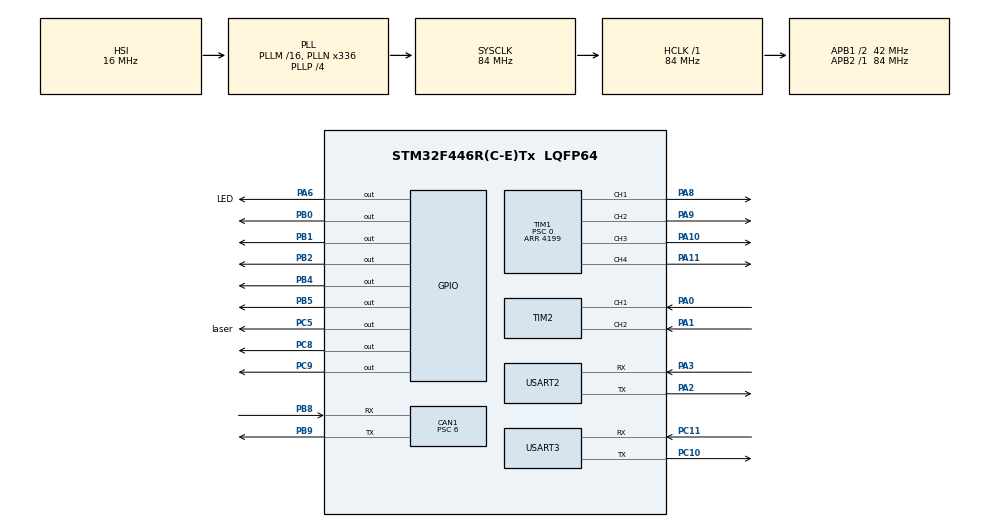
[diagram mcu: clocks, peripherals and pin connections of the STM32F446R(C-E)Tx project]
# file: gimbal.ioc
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CAN1.BS1=CAN_BS1_11TQ
CAN1.BS2=CAN_BS2_2TQ
CAN1.CalculateBaudRate=500000
CAN1.CalculateTimeBit=2000
CAN1.CalculateTimeQuantum=142.85714285714286
CAN1.Prescaler=6
FREERTOS.Tasks01=GimbalTASK,2,512,StartGimbalTask,Default,NULL,Dynamic,NULL,NULL;MonitorTask,3,512,StartMonitorTask,Default,NULL,Dynamic,NULL,NULL;ActionTask,0,256,StartActionTask,Default,NULL,Dynamic,NULL,NULL
Mcu.Family=STM32F4
Mcu.Name=STM32F446R(C-E)Tx
Mcu.Package=LQFP64
NVIC.CAN1_RX0_IRQn=true\:5\:0\:false\:false\:true\:true\:true\:true\:true
NVIC.PriorityGroup=NVIC_PRIORITYGROUP_4
NVIC.TIM1_UP_TIM10_IRQn=true\:5\:0\:false\:false\:true\:true\:true\:true\:true
PA0-WKUP.Signal=S_TIM2_CH1_ETR
PA1.Signal=S_TIM2_CH2
PA10.Signal=S_TIM1_CH3
PA11.Signal=S_TIM1_CH4
PA13.Mode=Serial_Wire
PA13.Signal=SYS_JTMS-SWDIO
PA14.Mode=Serial_Wire
PA14.Signal=SYS_JTCK-SWCLK
PA2.Mode=Asynchronous
PA2.Signal=USART2_TX
PA3.Mode=Asynchronous
PA3.Signal=USART2_RX
PA6.GPIO_Label=LED
PA6.Signal=GPIO_Output
PA8.Signal=S_TIM1_CH1
PA9.Signal=S_TIM1_CH2
PB0.Signal=GPIO_Output
PB1.Signal=GPIO_Output
PB2.Signal=GPIO_Output
PB4.Signal=GPIO_Output
PB5.Signal=GPIO_Output
PB8.Mode=CAN_Activate
PB8.Signal=CAN1_RX
PB9.Mode=CAN_Activate
PB9.Signal=CAN1_TX
PC10.Mode=Asynchronous
PC10.Signal=USART3_TX
PC11.Mode=Asynchronous
PC11.Signal=USART3_RX
PC14-OSC32_IN.Mode=LSE-External-Oscillator
PC14-OSC32_IN.Signal=RCC_OSC32_IN
PC15-OSC32_OUT.Mode=LSE-External-Oscillator
PC15-OSC32_OUT.Signal=RCC_OSC32_OUT
PC5.GPIO_Label=laser
PC5.Signal=GPIO_Output
PC8.Signal=GPIO_Output
PC9.Signal=GPIO_Output
PH0-OSC_IN.Mode=HSE-External-Oscillator
PH0-OSC_IN.Signal=RCC_OSC_IN
PH1-OSC_OUT.Mode=HSE-External-Oscillator
PH1-OSC_OUT.Signal=RCC_OSC_OUT
ProjectManager.HeapSize=0x200
ProjectManager.StackSize=0x400
ProjectManager.TargetToolchain=STM32CubeIDE
RCC.AHBFreq_Value=84000000
RCC.APB1CLKDivider=RCC_HCLK_DIV2
RCC.APB1Freq_Value=42000000
RCC.APB1TimFreq_Value=84000000
RCC.APB2Freq_Value=84000000
RCC.APB2TimFreq_Value=84000000
RCC.CortexFreq_Value=84000000
RCC.HCLKFreq_Value=84000000
RCC.PLLN=336
RCC.PLLP=RCC_PLLP_DIV4
RCC.SYSCLKFreq_VALUE=84000000
RCC.SYSCLKSource=RCC_SYSCLKSOURCE_PLLCLK
RCC.USBFreq_Value=168000000
RCC.VCOOutputFreq_Value=336000000
SH.S_TIM1_CH1.0=TIM1_CH1,PWM Generation1 CH1
SH.S_TIM1_CH2.0=TIM1_CH2,PWM Generation2 CH2
SH.S_TIM1_CH3.0=TIM1_CH3,PWM Generation3 CH3
SH.S_TIM1_CH4.0=TIM1_CH4,PWM Generation4 CH4
SH.S_TIM2_CH1_ETR.0=TIM2_CH1,Input_Capture1_from_TI1
SH.S_TIM2_CH2.0=TIM2_CH2,Input_Capture2_from_TI2
TIM1.Channel-PWM\ Generation1\ CH1=TIM_CHANNEL_1
TIM1.Channel-PWM\ Generation2\ CH2=TIM_CHANNEL_2
TIM1.Channel-PWM\ Generation3\ CH3=TIM_CHANNEL_3
TIM1.Channel-PWM\ Generation4\ CH4=TIM_CHANNEL_4
TIM1.Period=4199
TIM1.Prescaler=0
TIM2.Channel-Input_Capture1_from_TI1=TIM_CHANNEL_1
TIM2.Channel-Input_Capture2_from_TI2=TIM_CHANNEL_2
USART2.VirtualMode=VM_ASYNC
USART3.VirtualMode=VM_ASYNC
VP_FREERTOS_VS_CMSIS_V1.Mode=CMSIS_V1
VP_TIM1_VS_ClockSourceINT.Mode=Internal
board=custom

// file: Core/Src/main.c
/* USER CODE BEGIN Header */
/**
  ******************************************************************************
  * @file           : main.c
  * @brief          : Main program body
  ******************************************************************************
  * @attention
  *
  * Copyright (c) 2025 STMicroelectronics.
  * All rights reserved.
  *
  * This software is licensed under terms that can be found in the LICENSE file
  * in the root directory of this software component.
  * If no LICENSE file comes with this software, it is provided AS-IS.
  *
  ******************************************************************************
  */
/* USER CODE END Header */
#include "main.h"
#include "cmsis_os.h"
#include "can.h"
#include "tim.h"
#include "usart.h"
#include "gpio.h"

/* USER CODE BEGIN PV */
volatile int16_t    g_target_x = 0;
volatile int16_t    g_target_y = 0;
volatile uint8_t    g_control_mode = 0;
volatile uint8_t    g_laser_cmd = 0;
volatile uint8_t    last_gate_cmd = 0;
volatile uint8_t dronemode =0;

/* 시스템 상태 감시용 변수 */
volatile uint32_t   g_last_heartbeat_rx_tick = 0;
volatile uint32_t   g_last_rx_tick = 0;
volatile uint32_t   g_last_laser_tick = 0;
volatile uint32_t   g_last_target_tick = 0;
volatile int16_t g_manual_up =0 ;
volatile int16_t g_manual_down = 0;
volatile int16_t g_manual_left = 0;
volatile int16_t g_manual_right = 0;

/* 주행 명령 원본 데이터 */
volatile uint8_t    g_drive_cmd[5] = {0, };

/* CAN 관련 통신 변수 */
CAN_RxHeaderTypeDef canRxHeader;
CAN_TxHeaderTypeDef canTxHeader;
uint32_t            TxMailBox;
uint8_t             can1Rx0Data[8];
uint8_t             can1Tx0Data[8];
/* USER CODE END PV */

void SystemClock_Config(void);
void MX_FREERTOS_Init(void);

int main(void)
{

  /* MCU Configuration--------------------------------------------------------*/

  /* Reset of all peripherals, Initializes the Flash interface and the Systick. */
  HAL_Init();

  /* Configure the system clock */
  SystemClock_Config();

  /* Initialize all configured peripherals */
  MX_GPIO_Init();
  MX_USART2_UART_Init();
  MX_CAN1_Init();
  MX_TIM1_Init();
  MX_TIM2_Init();
  MX_USART3_UART_Init();
  /* USER CODE BEGIN 2 */
  MX_CAN1_Filter_Config();
  /* USER CODE END 2 */

  /* Call init function for freertos objects (in cmsis_os2.c) */
  MX_FREERTOS_Init();

  /* Start scheduler */
  osKernelStart();

  /* We should never get here as control is now taken by the scheduler */

  /* Infinite loop */
  while (1)
  {

  }
}

void SystemClock_Config(void)
{
  RCC_OscInitTypeDef RCC_OscInitStruct = {0};
  RCC_ClkInitTypeDef RCC_ClkInitStruct = {0};

  /** Configure the main internal regulator output voltage
  */
  __HAL_RCC_PWR_CLK_ENABLE();
  __HAL_PWR_VOLTAGESCALING_CONFIG(PWR_REGULATOR_VOLTAGE_SCALE3);

  /** Initializes the RCC Oscillators according to the specified parameters
  * in the RCC_OscInitTypeDef structure.
  */
  RCC_OscInitStruct.OscillatorType = RCC_OSCILLATORTYPE_HSI;
  RCC_OscInitStruct.HSIState = RCC_HSI_ON;
  RCC_OscInitStruct.HSICalibrationValue = RCC_HSICALIBRATION_DEFAULT;
  RCC_OscInitStruct.PLL.PLLState = RCC_PLL_ON;
  RCC_OscInitStruct.PLL.PLLSource = RCC_PLLSOURCE_HSI;
  RCC_OscInitStruct.PLL.PLLM = 16;
  RCC_OscInitStruct.PLL.PLLN = 336;
  RCC_OscInitStruct.PLL.PLLP = RCC_PLLP_DIV4;
  RCC_OscInitStruct.PLL.PLLQ = 2;
  RCC_OscInitStruct.PLL.PLLR = 2;
  if (HAL_RCC_OscConfig(&RCC_OscInitStruct) != HAL_OK)
  {
    Error_Handler();
  }

  /** Initializes the CPU, AHB and APB buses clocks
  */
  RCC_ClkInitStruct.ClockType = RCC_CLOCKTYPE_HCLK|RCC_CLOCKTYPE_SYSCLK
                              |RCC_CLOCKTYPE_PCLK1|RCC_CLOCKTYPE_PCLK2;
  RCC_ClkInitStruct.SYSCLKSource = RCC_SYSCLKSOURCE_PLLCLK;
  RCC_ClkInitStruct.AHBCLKDivider = RCC_SYSCLK_DIV1;
  RCC_ClkInitStruct.APB1CLKDivider = RCC_HCLK_DIV2;
  RCC_ClkInitStruct.APB2CLKDivider = RCC_HCLK_DIV1;

  if (HAL_RCC_ClockConfig(&RCC_ClkInitStruct, FLASH_LATENCY_2) != HAL_OK)
  {
    Error_Handler();
  }
}

void Error_Handler(void)
{
  __disable_irq();
  while (1)
  {
  }
}

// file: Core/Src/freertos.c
/* USER CODE BEGIN Header */
/**
 ******************************************************************************
 * File Name          : freertos.c
 * Description        : Code for freertos applications
 ******************************************************************************
 */
/* USER CODE END Header */

#include "FreeRTOS.h"
#include "task.h"
#include "main.h"
#include "cmsis_os.h"

/* USER CODE BEGIN Includes */
#include <stdio.h>
#include <string.h>
#include <stdlib.h>
/* USER CODE END Includes */

/* USER CODE BEGIN PD */
extern void CAN_CheckAndRecover(void);
extern void CAN1_Send_Gimbal_Heartbeat(uint8_t status);
extern void MX_CAN1_Filter_Config(void);
extern void Driving_Stop(void);
extern void Driving_Init(void);
extern void Driving_SetSpeed(uint8_t ls, uint8_t rs, uint8_t ld, uint8_t rd);
extern void CAN_GetDriveCommand(uint8_t *ls, uint8_t *rs, uint8_t *ld, uint8_t *rd, uint8_t *brk);
/* USER CODE END PD */

/* USER CODE BEGIN Variables */
extern UART_HandleTypeDef huart2;
extern UART_HandleTypeDef huart3;

extern volatile int16_t    g_target_x;
extern volatile int16_t    g_target_y;
extern volatile uint8_t    g_control_mode;
extern volatile uint8_t    g_laser_cmd;
extern volatile uint8_t    dronemode;

extern volatile uint32_t   g_last_rx_tick;
extern volatile uint32_t   g_last_target_tick;
extern volatile uint32_t   g_last_laser_tick;

extern volatile int16_t    g_manual_up;
extern volatile int16_t    g_manual_down;
extern volatile int16_t    g_manual_left;
extern volatile int16_t    g_manual_right;

osThreadId GimbalTASKHandle;
osThreadId MonitorTaskHandle;
osThreadId ActionTaskHandle;
/* USER CODE END Variables */
osThreadId GimbalTASKHandle;
osThreadId MonitorTaskHandle;
osThreadId ActionTaskHandle;

/* USER CODE BEGIN FunctionPrototypes */
uint16_t Calculate_Mavlink_CRC(uint8_t *data, uint16_t len);
uint16_t crc_accumulate(uint8_t b, uint16_t crc);
/* USER CODE END FunctionPrototypes */

void StartGimbalTask(void const * argument);
void StartMonitorTask(void const * argument);
void StartActionTask(void const * argument);

void MX_FREERTOS_Init(void); /* (MISRA C 2004 rule 8.1) */

/* GetIdleTaskMemory prototype (linked to static allocation support) */
void vApplicationGetIdleTaskMemory( StaticTask_t **ppxIdleTaskTCBBuffer, StackType_t **ppxIdleTaskStackBuffer, uint32_t *pulIdleTaskStackSize );

/* USER CODE BEGIN GET_IDLE_TASK_MEMORY */
static StaticTask_t xIdleTaskTCBBuffer;
static StackType_t xIdleStack[configMINIMAL_STACK_SIZE];

void vApplicationGetIdleTaskMemory(StaticTask_t **ppxIdleTaskTCBBuffer,
		StackType_t **ppxIdleTaskStackBuffer, uint32_t *pulIdleTaskStackSize) {
	*ppxIdleTaskTCBBuffer = &xIdleTaskTCBBuffer;
	*ppxIdleTaskStackBuffer = &xIdleStack[0];
	*pulIdleTaskStackSize = configMINIMAL_STACK_SIZE;
}
/* USER CODE END GET_IDLE_TASK_MEMORY */

void MX_FREERTOS_Init(void) {

  /* Create the thread(s) */
  /* definition and creation of GimbalTASK */
  osThreadDef(GimbalTASK, StartGimbalTask, osPriorityHigh, 0, 512);
  GimbalTASKHandle = osThreadCreate(osThread(GimbalTASK), NULL);

  /* definition and creation of MonitorTask */
  osThreadDef(MonitorTask, StartMonitorTask, osPriorityRealtime, 0, 512);
  MonitorTaskHandle = osThreadCreate(osThread(MonitorTask), NULL);

  /* definition and creation of ActionTask */
  osThreadDef(ActionTask, StartActionTask, osPriorityNormal, 0, 256);
  ActionTaskHandle = osThreadCreate(osThread(ActionTask), NULL);

}

  /* USER CODE BEGIN StartGimbalTask */
void StartGimbalTask(void const * argument) {
    static float current_pitch = 0.0f;
    static float current_yaw   = 0.0f;
    uint8_t storm_cmd[19];
    uint8_t rx_ack[6];
    char debug_buf[128];

    for (;;) {
        // 1. 제어 로직
        if (g_control_mode == 1) { // AUTO
            current_yaw   = (float)g_target_x * 0.1f;
            current_pitch = (float)g_target_y * 0.1f;
        } else { // MANUAL
            if (g_manual_up)    current_pitch -= 2.0f; //업이지만 다운
            if (g_manual_down)  current_pitch += 2.0f; //다운이지만 위로
            if (g_manual_left)  current_yaw   += 2.0f;
            if (g_manual_right) current_yaw   -= 2.0f;
        }

        // 2. STorM32 패킷 조립
        storm_cmd[0] = 0xFA;
        storm_cmd[1] = 0x0E;
        storm_cmd[2] = 0x11;
        float roll_zero = 0.0f;
        memcpy(&storm_cmd[3],  &current_pitch, 4);
        memcpy(&storm_cmd[7],  &roll_zero, 4);
        memcpy(&storm_cmd[11], &current_yaw, 4);
        storm_cmd[15] = 0x00;
        storm_cmd[16] = 0x00;
        uint16_t crc = Calculate_Mavlink_CRC(&storm_cmd[1], 16);
        storm_cmd[17] = (uint8_t)(crc & 0xFF);
        storm_cmd[18] = (uint8_t)(crc >> 8);

        // 3. 전송 및 응답 확인
        HAL_UART_Transmit(&huart3, storm_cmd, 19, 20);
        const char* ack_res = (HAL_UART_Receive(&huart3, rx_ack, 6, 10) == HAL_OK) ? "OK" : "NR";

        // 4. 안전한 디버그 출력 (snprintf 사용으로 메모리 오염 방지)
        int msg_len = snprintf(debug_buf, sizeof(debug_buf), "P:%.1f Y:%.1f ACK:%s\r\n",
                               current_pitch, current_yaw, ack_res);
        HAL_UART_Transmit(&huart2, (uint8_t*)debug_buf, msg_len, 10);

        osDelay(33);
    }
}
  /* USER CODE END StartGimbalTask */

  /* USER CODE BEGIN StartMonitorTask */
void StartMonitorTask(void const * argument) {
    MX_CAN1_Filter_Config();
    Driving_Stop();

    uint8_t last_peer_alive = 1;
    uint32_t last_hb_tick = osKernelSysTick();

    for (;;) {
    	CAN_CheckAndRecover();
        uint32_t current_tick = osKernelSysTick();

        // 1. Peer 생존 확인 (1초 타임아웃)
        uint8_t current_peer_alive = (current_tick - g_last_rx_tick < 1000) ? 1 : 0;

        if (!current_peer_alive) {
            if (last_peer_alive == 1) {
                Driving_Init();
                HAL_UART_Transmit(&huart2, (uint8_t*)"[FAIL-OVER] Take Control!\r\n", 27, 10);
            }
            uint8_t l_spd, r_spd, l_dir, r_dir, brake;
            CAN_GetDriveCommand(&l_spd, &r_spd, &l_dir, &r_dir, &brake);

            if (brake == 1) Driving_Stop();
            else Driving_SetSpeed(l_spd, r_spd, l_dir, r_dir);
        }

        // 2. 정확한 500ms 하트비트 전송
        if (current_tick - last_hb_tick >= 500) {
            CAN1_Send_Gimbal_Heartbeat(0);
            last_hb_tick = current_tick;
        }

        last_peer_alive = current_peer_alive;
        osDelay(10);
    }
}
  /* USER CODE END StartMonitorTask */

  /* USER CODE BEGIN StartActionTask */
void StartActionTask(void const * argument) {
    for (;;) {
        // 자동 모드 유효성 체크 (150ms)
        if (osKernelSysTick() - g_last_target_tick > 150) {
            dronemode = 0;
        }

        // 레이저 제어
        if (dronemode == 1 || g_laser_cmd == 1) {
            HAL_GPIO_WritePin(GPIOC, GPIO_PIN_5, GPIO_PIN_SET);
        } else {
            HAL_GPIO_WritePin(GPIOC, GPIO_PIN_5, GPIO_PIN_RESET);
        }

        osDelay(50);
    }
}
  /* USER CODE END StartActionTask */

/* USER CODE BEGIN Application */
uint16_t crc_accumulate(uint8_t b, uint16_t crc) {
    uint8_t ch = (uint8_t)(b ^ (uint8_t)(crc & 0x00ff));
    ch = (uint8_t)(ch ^ (uint8_t)(ch << 4));
    return (uint16_t)((crc >> 8) ^ (uint16_t)(ch << 8) ^ (uint16_t)(ch << 3) ^ (uint16_t)(ch >> 4));
}

uint16_t Calculate_Mavlink_CRC(uint8_t *data, uint16_t len) {
    uint16_t crc = 0xFFFF; // X25 초기값
    for (uint16_t i = 0; i < len; i++) {
        crc = crc_accumulate(data[i], crc);
    }
    return crc;
}
/* USER CODE END Application */
